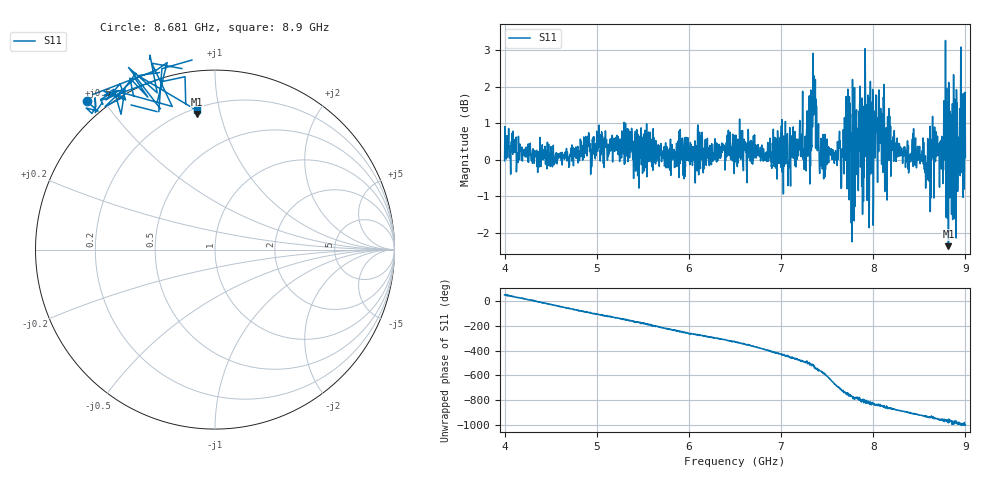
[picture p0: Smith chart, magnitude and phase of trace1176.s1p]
! Created with skrf 1.8.0 (http://scikit-rf.org).
# Hz S RI R 50.0
!freq ReS11 ImS11
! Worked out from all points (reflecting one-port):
!   1601 points, 4 GHz to 9 GHz, reference 50 ohm
!   lowest |S11| = -2.4 dB at 8.816 GHz (marker M1), VSWR 7.40, Z = 11.8 + j42.4 ohm
!   phase of S11 starts at 51 deg and turns -1050 deg over the sweep
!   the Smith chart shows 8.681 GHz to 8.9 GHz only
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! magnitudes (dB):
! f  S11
! 4 GHz  0.0
! 4.625 GHz  -0.1
! 5.25 GHz  0.0
! 5.875 GHz  0.2
! 6.5 GHz  0.4
! 7.125 GHz  0.1
! 7.209 GHz  0.7
! 7.266 GHz  0.1
! 7.316 GHz  0.6
! 7.362 GHz  2.2
! 7.4 GHz  0.8
! 7.438 GHz  -0.2
! 7.75 GHz  1.1
! 7.788 GHz  0.0
! 7.834 GHz  0.0
! 7.909 GHz  2.4
! 7.928 GHz  1.2
! 7.981 GHz  -0.2
! 8.088 GHz  0.7
! 8.147 GHz  0.6
! 8.375 GHz  0.2
! 8.603 GHz  -0.6
! 8.656 GHz  0.8
! 8.816 GHz  -2.4
! 8.875 GHz  0.5
! 8.884 GHz  1.7
! 8.959 GHz  1.8
! 9 GHz  0.1
